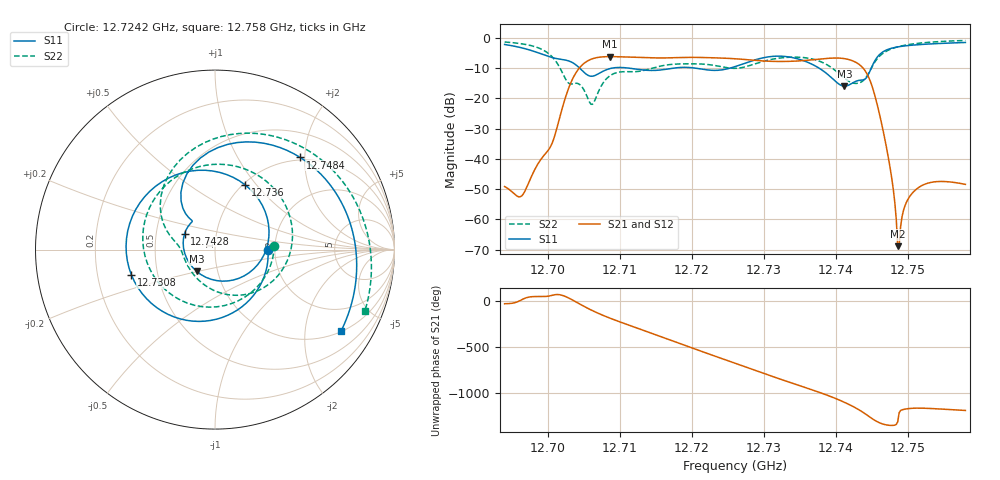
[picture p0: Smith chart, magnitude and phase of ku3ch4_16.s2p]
#  HZ  S  RI  R  50.00
! Rohde & Schwarz ZVA50 2Ports - Version 3.70 - 1145.1110k50 SN: 100192
! Date: 2025-10-24 10:56:25
! Measurements: S11 S21 S12 S22
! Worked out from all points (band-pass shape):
!   321 points, 12.694 GHz to 12.758 GHz, reference 50 ohm
!   highest |S21| = -6.23 dB at 12.7086 GHz (marker M1); lowest = -68.8 dB at 12.7486 GHz (marker M2)
!   |S21| within 3 dB of the highest: 12.70467 GHz to 12.74346 GHz (38.78 MHz wide, 0.305 % of centre)
!   lowest |S11| = -16.0 dB at 12.7412 GHz (marker M3), VSWR 1.38, Z = 39.6 - j9.8 ohm
!   |S11| at or under -10 dB: 12.71115 GHz to 12.71758 GHz (6.425 MHz wide, 0.0505 % of centre); 12.7204 GHz to 12.72536 GHz (4.958 MHz wide, 0.039 % of centre); 12.73765 GHz to 12.74493 GHz (7.277 MHz wide, 0.0571 % of centre)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
!   |S22| runs from -22.0 to -0.9 dB; largest |S21 - S12| = 0.0085
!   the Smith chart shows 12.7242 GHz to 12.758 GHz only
!   S11 on the Smith chart (normalised r, x): 12.7242 GHz: 1.84, -0.00; 12.7308 GHz: 0.35, -0.13; 12.736 GHz: 1.02, +0.88; 12.7428 GHz: 0.70, +0.13; 12.7484 GHz: 0.95, +1.90; 12.758 GHz: 1.02, -3.08
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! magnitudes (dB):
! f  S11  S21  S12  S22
! 12.694 GHz  -2.2  -49.1  -49.0  -1.4
! 12.6966 GHz  -3.5  -51.6  -51.4  -2.1
! 12.7006 GHz  -6.5  -34.8  -34.7  -6.3
! 12.703 GHz  -7.7  -16.0  -15.9  -15.2
! 12.7048 GHz  -10.9  -8.9  -8.8  -16.4
! 12.7062 GHz  -12.7  -6.9  -6.8  -22.0
! 12.7086 GHz  -10.2  -6.2  -6.1  -12.6
! 12.7154 GHz  -10.7  -6.7  -6.6  -9.5
! 12.7242 GHz  -10.6  -6.7  -6.6  -9.6
! 12.726 GHz  -9.5  -6.9  -6.8  -10.1
! 12.7308 GHz  -6.3  -7.8  -7.7  -7.3
! 12.736 GHz  -8.0  -7.5  -7.4  -6.7
! 12.7368 GHz  -8.9  -7.3  -7.2  -7.0
! 12.7412 GHz  -16.0  -6.9  -6.8  -13.3
! 12.7428 GHz  -14.4  -8.1  -8.0  -15.1
! 12.745 GHz  -9.6  -15.7  -15.6  -9.7
! 12.7474 GHz  -3.7  -40.9  -40.8  -4.0
! 12.7484 GHz  -3.1  -60.0  -59.9  -3.1
! 12.7486 GHz  -3.0  -68.8  -68.7  -3.0
! 12.7494 GHz  -2.7  -57.0  -56.9  -2.6
! 12.751 GHz  -2.4  -50.4  -50.3  -2.0
! 12.758 GHz  -1.6  -48.4  -48.3  -0.9
